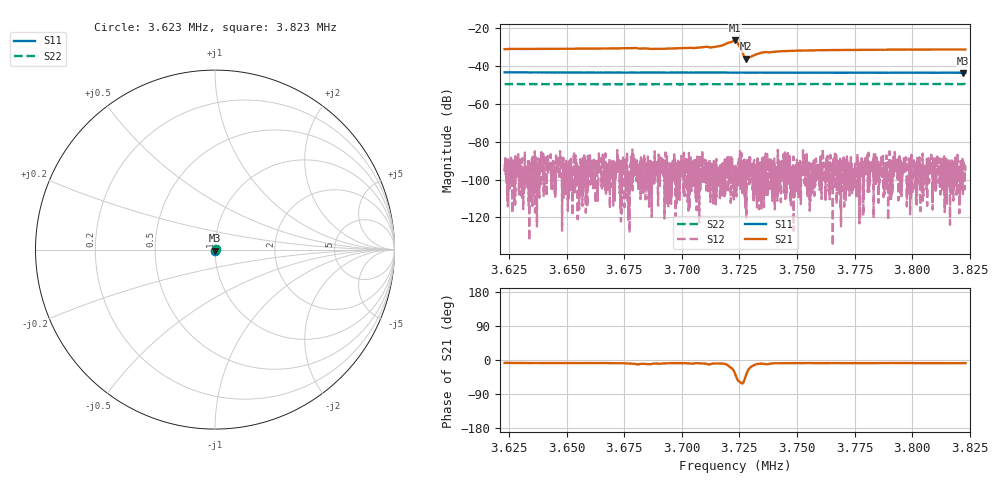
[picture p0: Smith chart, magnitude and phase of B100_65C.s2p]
# Hz S dB R 50.000
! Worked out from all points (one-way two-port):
!   6401 points, 3.623 MHz to 3.823 MHz, reference 50 ohm
!   highest |S21| = -26.37 dB at 3.723 MHz (marker M1); lowest = -36.0 dB at 3.728 MHz (marker M2)
!   lowest |S11| = -43.5 dB at 3.822 MHz (marker M3), VSWR 1.01, Z = 49.9 - j0.665 ohm
!   |S11| at or under -10 dB: start of sweep to end of sweep
!   |S22| runs from -49.7 to -49.3 dB; largest |S21 - S12| = 0.048
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3623125  -43.26 -94.0  -30.95 -7.8  -92.11 141.1  -49.44 24.8
3656469  -43.33 -93.8  -30.75 -8.2  -101.43 123.7  -49.50 24.9
3679562  -43.33 -94.0  -30.35 -10.0  -89.08 25.7  -49.50 25.4
3689812  -43.34 -93.9  -30.70 -9.6  -103.49 99.6  -49.45 25.4
3705562  -43.35 -93.7  -30.38 -8.9  -96.95 -45.8  -49.52 25.6
3710531  -43.35 -93.9  -29.74 -9.8  -93.26 30.8  -49.42 25.6
3713219  -43.35 -93.9  -29.99 -9.7  -94.41 -56.0  -49.49 25.8
3717188  -43.35 -94.0  -29.10 -9.2  -92.61 -50.0  -49.52 25.9
3723125  -43.35 -93.9  -26.37 -35.6  -96.76 42.4  -49.48 25.2
3723719  -43.37 -93.8  -26.77 -45.1  -106.41 156.4  -49.47 26.0
3724438  -43.40 -93.9  -28.15 -54.0  -102.41 65.3  -49.56 25.5
3725438  -43.36 -93.7  -30.17 -58.8  -99.97 69.4  -49.51 25.8
3727062  -43.40 -94.0  -34.88 -54.8  -92.31 -31.7  -49.47 25.8
3727562  -43.39 -93.8  -35.74 -45.6  -115.38 -17.6  -49.47 25.6
3728062  -43.37 -93.9  -35.96 -36.7  -110.95 48.9  -49.45 26.1
3728844  -43.36 -93.9  -35.68 -26.6  -95.70 72.7  -49.46 26.3
3733250  -43.40 -94.0  -33.34 -10.3  -95.09 21.5  -49.53 25.5
3735719  -43.39 -93.9  -32.57 -10.3  -100.59 -70.8  -49.46 25.6
3756469  -43.41 -94.0  -31.60 -8.2  -97.73 36.8  -49.45 26.1
3789812  -43.49 -94.7  -31.32 -8.1  -97.33 -42.9  -49.49 26.1
3822188  -43.51 -94.2  -31.14 -8.3  -90.43 72.2  -49.48 25.5
3823125  -43.47 -94.3  -31.14 -8.3  -95.77 71.9  -49.47 25.9
